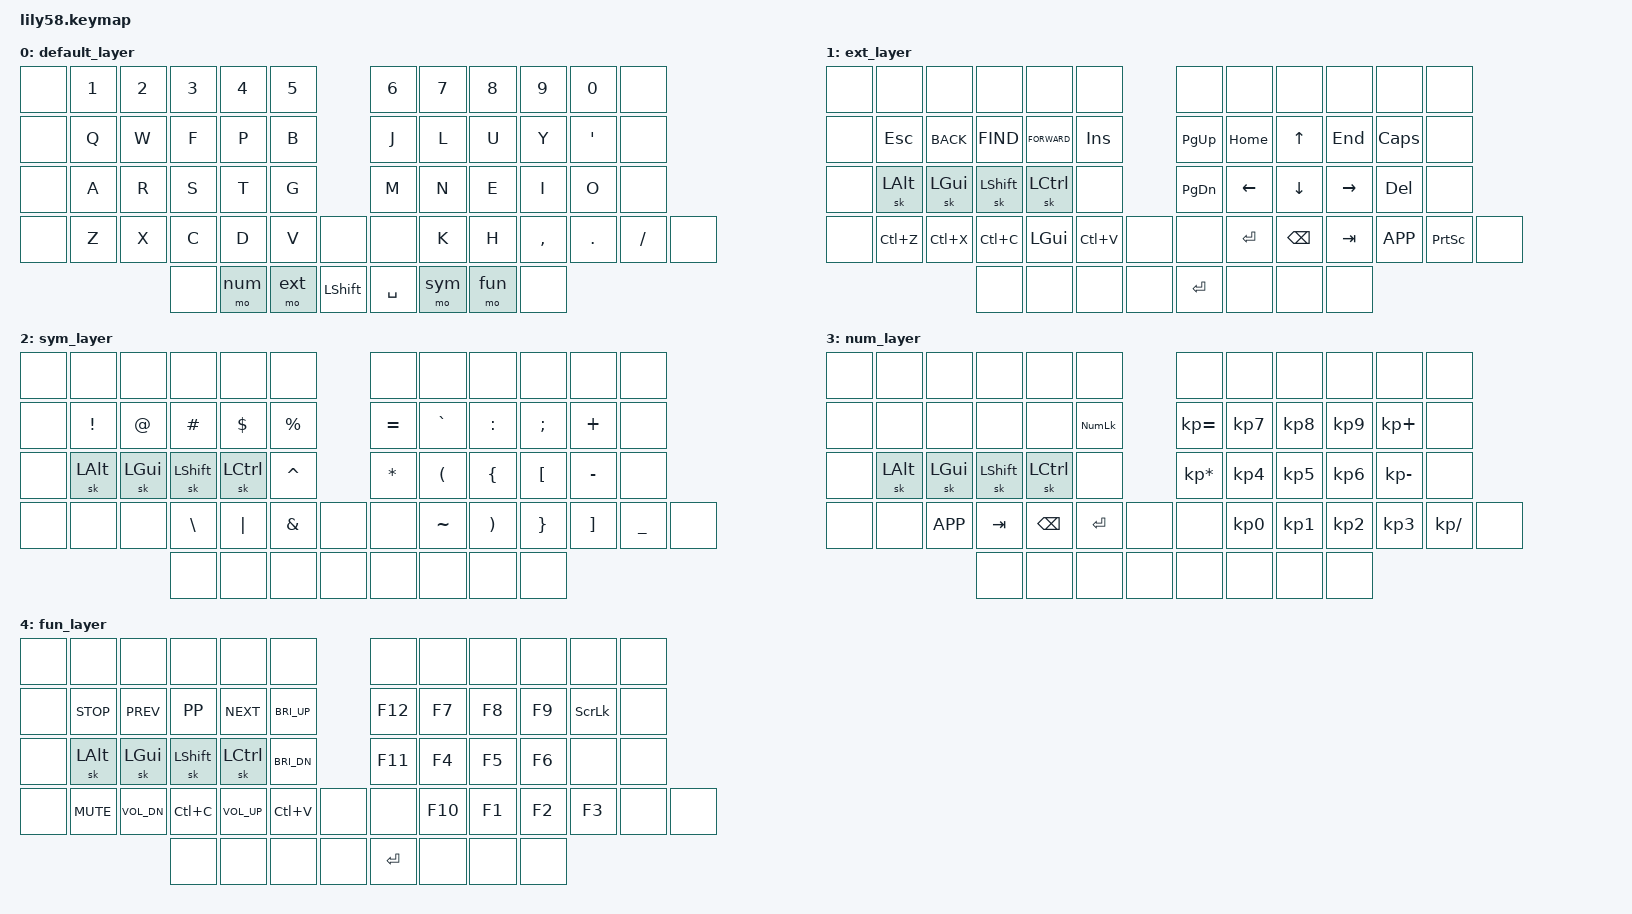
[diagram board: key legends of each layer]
/*
 * Copyright (c) 2020 The ZMK Contributors
 *
 * SPDX-License-Identifier: MIT
 */

#include <behaviors.dtsi>
#include <dt-bindings/zmk/keys.h>
#include <dt-bindings/zmk/bt.h>
#include <dt-bindings/zmk/ext_power.h>


#define default 0
#define ext 1
#define sym 2
#define num 3
#define fun 4

&sk {

};

/ {
    keymap {
        compatible = "zmk,keymap";

        default_layer {
// -------------------------------------------------------------------------------
// | ? | 1 | 2 | 3 |  4  |  5  |                     |  6  |  7  | 8 | 9 | 0 | ? |
// | ? | Q | W | F |  P  |  B  |                     |  J  |  L  | U | Y | ' | ? |
// | ? | A | R | S |  T  |  G  |                     |  M  |  N  | E | I | O | ? |
// | ? | Z | X | C |  D  |  V  |   ?   |     |   ?   |  K  |  H  | , | . | / | ? |
//             | ? | NUM | EXT | SHIFT |     | SPACE | SYM | FUN | ? |
            bindings = <
&none &kp N1 &kp N2 &kp N3 &kp N4  &kp N5				  &kp N6  &kp N7  &kp N8    &kp N9  &kp N0   &none
&none &kp Q  &kp W  &kp F  &kp P   &kp B				  &kp J   &kp L   &kp U     &kp Y   &kp SQT  &none
&none &kp A  &kp R  &kp S  &kp T   &kp G				  &kp M   &kp N   &kp E     &kp I   &kp O    &none
&none &kp Z  &kp X  &kp C  &kp D   &kp V   &none		&none     &kp K   &kp H   &kp COMMA &kp DOT &kp FSLH &none
                    &none  &mo num &mo ext &kp LSHIFT		&kp SPACE &mo sym &mo fun &none
            >;
        };

        ext_layer {
// ---------------------------------------------------------------------------------------------------
// | ? |  ?   |  ?   |   ?   |  ?   |   ?   |               |  ?   |  ?   |  ?   |   ?   |   ?   | ? |
// | ? | ESC  | BACK | FIND  | FWD  |  INS  |               | PGUP | HOME |  UP  |  END  |  CAPS | ? |
// | ? | ALT  | GUI  | SHIFT | CTRL |   ?   |               | PGDN | LEFT | DOWN | RIGHT |  DEL  | ? |
// | ? | UNDO | CUT  | COPY  | GUI  | PASTE | ? |     |  ?  | RET  | BSPC | TAB  |  APP  | PSCRN | ? |
//                   |   ?   |  ?   |   ?   | ? |     | RET |  ?   |  ?   |  ?   |
            bindings = <
&none &none     &none      &none      &none         &none				  &none     &none    &none    &none     &none     &none
&none &kp ESC   &kp K_BACK &kp K_FIND &kp K_FORWARD &kp INS				  &kp PG_UP &kp HOME &kp UP   &kp END   &kp CAPS  &none
&none &sk LALT  &sk LGUI   &sk LSHIFT &sk LCTRL     &none				  &kp PG_DN &kp LEFT &kp DOWN &kp RIGHT &kp DEL   &none
&none &kp LC(Z) &kp LC(X)  &kp LC(C)  &kp LGUI      &kp LC(V) &none		&none     &kp RET   &kp BSPC &kp TAB  &kp K_APP &kp PSCRN &none
                           &none      &none         &none     &none	 	&kp RET   &none     &none    &none
            >;
        };

        sym_layer {
// --------------------------------------------------------------------------
// | ? |  ?  |  ?  |   ?   |  ?   | ? |             | ? | ? | ? | ? | ? | ? |
// | ? |  !  |  @  |   #   |  $   | % |             | = | ` | : | ; | + | ? |
// | ? | ALT | GUI | SHIFT | CTRL | ^ |             | * | ( | { | [ | - | ? |
// | ? |  ?  |  ?  |   \   | "|"  | & | ? |     | ? | ~ | ) | } | ] | _ | ? |
//                 |   ?   |  ?   | ? | ? |     | ? | ? | ? | ? |
            bindings = <
&none &none    &none    &none      &none     &none			      &none     &none     &none     &none    &none     &none
&none &kp EXCL &kp AT   &kp HASH   &kp DLLR  &kp PRCNT			      &kp EQUAL &kp GRAVE &kp COLON &kp SEMI &kp PLUS  &none
&none &sk LALT &sk LGUI &sk LSHIFT &sk LCTRL &kp CARET			      &kp STAR  &kp LPAR  &kp LBRC  &kp LBKT &kp MINUS &none
&none &none    &none    &kp BSLH   &kp PIPE  &kp AMPS  &none		&none &kp TILDE &kp RPAR  &kp RBRC  &kp RBKT &kp UNDER &none
                        &none      &none     &none     &none		&none &none     &none     &none
            >;
        };

        num_layer {
// -----------------------------------------------------------------------------
// | ? |  ?  |  ?  |   ?   |  ?   |  ?   |             | ? | ? | ? | ? | ? | ? |
// | ? |  ?  |  ?  |   ?   |  ?   | NLCK |             | = | 7 | 8 | 9 | + | ? |
// | ? | ALT | GUI | SHIFT | CTRL |  ?   |             | * | 4 | 5 | 6 | - | ? |
// | ? |  ?  | APP |  TAB  | BSPC | RET  | ? |     | ? | 0 | 1 | 2 | 3 | / | ? |
//                 | ?     | ?    |  ?   | ? |     | ? | ? | ? | ? |
            bindings = <
&none &none    &none     &none      &none     &none			      &none           &none     &none     &none     &none         &none
&none &none    &none     &none      &none     &kp KP_NLCK		      &kp KP_EQUAL    &kp KP_N7 &kp KP_N8 &kp KP_N9 &kp KP_PLUS   &none
&none &sk LALT &sk LGUI  &sk LSHIFT &sk LCTRL &none			      &kp KP_MULTIPLY &kp KP_N4 &kp KP_N5 &kp KP_N6 &kp KP_MINUS  &none
&none &none    &kp K_APP &kp TAB    &kp BSPC  &kp RET     &none		&none &kp KP_N0       &kp KP_N1 &kp KP_N2 &kp KP_N3 &kp KP_DIVIDE &none
                         &none      &none     &none       &none		&none &none           &none     &none
            >;
        };

        fun_layer {
// -----------------------------------------------------------------------------------------------
// | ? |  ?   |   ?    |   ?   |   ?    |   ?    |               |  ?  | ?  | ?  | ?  |  ?   | ? |
// | ? | STOP |  PREV  | PLAY  |  NEXT  | BRI_UP |               | F12 | F7 | F8 | F9 | SLCK | ? |
// | ? | ALT  |  GUI   | SHIFT |  CTRL  | BRI_DN |               | F11 | F4 | F5 | F6 |  ?   | ? |
// | ? | MUTE | VOL_DN | COPY  | VOL_UP | PASTE  | ? |     |  ?  | F10 | F1 | F2 | F3 |  ?   | ? |
//                     |   ?   |   ?    |   ?    | ? |     | RET |  ?  | ?  | ?  |
            bindings = <
&none &none      &none        &none      &none        &none			                &none   &none  &none  &none  &none    &none
&none &kp K_STOP &kp K_PREV   &kp K_PP   &kp K_NEXT   &kp C_BRI_UP			        &kp F12 &kp F7 &kp F8 &kp F9 &kp SLCK &none
&none &sk LALT   &sk LGUI     &sk LSHIFT &sk LCTRL    &kp C_BRI_DN	      		        &kp F11 &kp F4 &kp F5 &kp F6 &none    &none
&none &kp K_MUTE &kp K_VOL_DN &kp LC(C)  &kp K_VOL_UP &kp LC(V)    &none		&none   &kp F10 &kp F1 &kp F2 &kp F3 &none    &none
                              &none      &none        &none        &none		&kp RET &none   &none  &none
            >;
        };
    };
} ;
